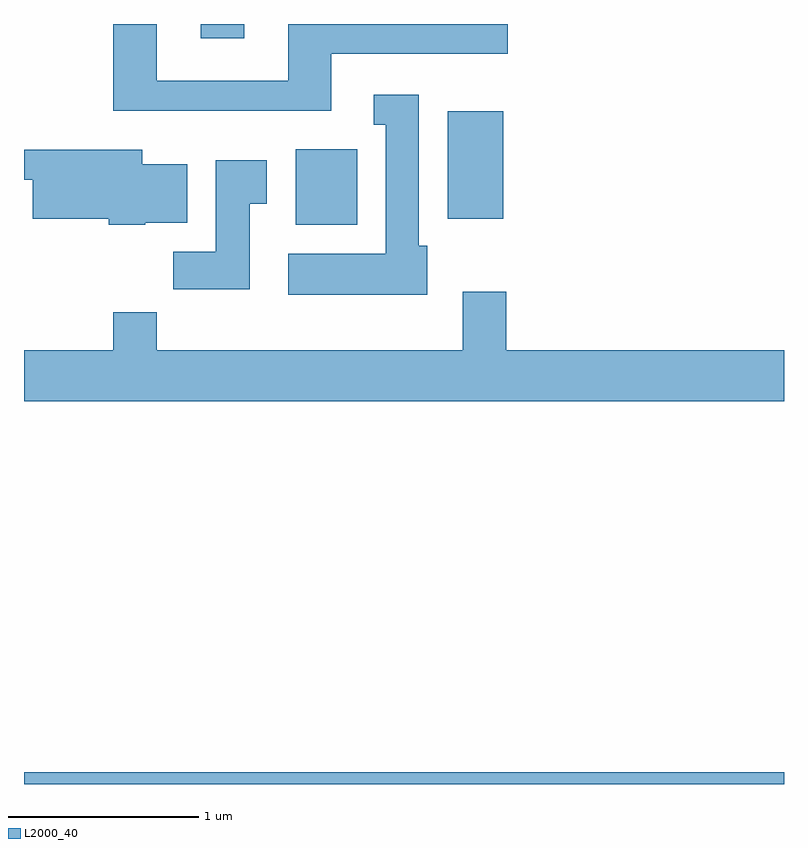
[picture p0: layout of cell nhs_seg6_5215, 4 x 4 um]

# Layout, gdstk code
import gdstk
lib = gdstk.Library(unit=1e-6, precision=1e-09)
def R(c, l, rs):  # rectangles x0, y0, x1, y1
    for r in rs: c.add(gdstk.rectangle(r[:2], r[2:], *l))
def P(c, l, *ps):  # polygons
    for p in ps: c.add(gdstk.Polygon(p, *l))
L2000_40 = (2000, 40)

nhs_seg6_5215 = lib.new_cell('nhs_seg6_5215')
R(nhs_seg6_5215, L2000_40, [(343.611,1630.162,347.611,1630.224), (345.041,1633.106,345.364,1633.504), (345.841,1633.136,346.134,1633.704), (344.541,1634.086,344.769,1634.162)])
P(nhs_seg6_5215, L2000_40, [(345.229,1634.006),(346.158,1634.006),(346.158,1634.162),(345.001,1634.162),(345.001,1633.864),(344.309,1633.864),(344.309,1634.162),(344.081,1634.162),(344.081,1633.706),(345.229,1633.706)],
  [(345.734,1632.994),(345.689,1632.994),(345.689,1633.789),(345.453,1633.789),(345.453,1633.631),(345.516,1633.631),(345.516,1632.954),(345.001,1632.954),(345.001,1632.736),(345.734,1632.736)],
  [(344.25,1633.116),(344.469,1633.116),(344.469,1633.424),(344.234,1633.424),(344.234,1633.499),(343.611,1633.499),(343.611,1633.341),(343.656,1633.341),(343.656,1633.136),(344.056,1633.136),(344.056,1633.106),(344.25,1633.106)],
  [(344.799,1633.216),(344.889,1633.216),(344.889,1633.444),(344.621,1633.444),(344.621,1632.964),(344.396,1632.964),(344.396,1632.766),(344.799,1632.766)],
  [(347.611,1632.444),(346.149,1632.444),(346.149,1632.754),(345.921,1632.754),(345.921,1632.444),(344.309,1632.444),(344.309,1632.644),(344.081,1632.644),(344.081,1632.444),(343.611,1632.444),(343.611,1632.176),(347.611,1632.176)])

lib.write_gds('nhs_seg6_5215.gds')
